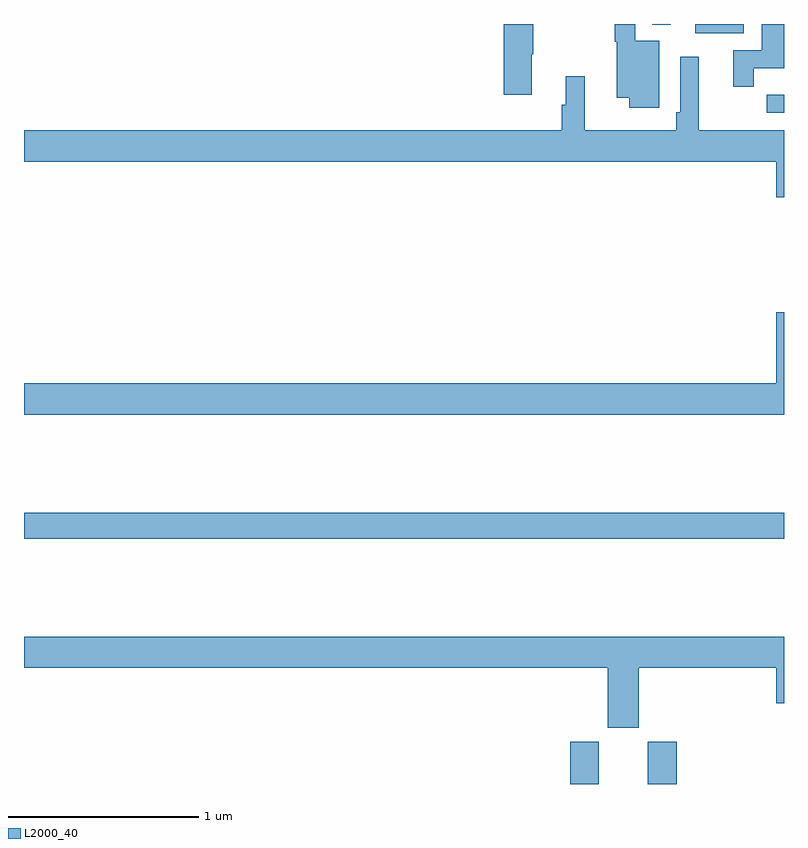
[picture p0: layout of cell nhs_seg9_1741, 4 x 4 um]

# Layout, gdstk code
import gdstk
lib = gdstk.Library(unit=1e-6, precision=1e-09)
def R(c, l, rs):  # rectangles x0, y0, x1, y1
    for r in rs: c.add(gdstk.rectangle(r[:2], r[2:], *l))
def P(c, l, *ps):  # polygons
    for p in ps: c.add(gdstk.Polygon(p, *l))
L2000_40 = (2000, 40)

nhs_seg9_1741 = lib.new_cell('nhs_seg9_1741')
R(nhs_seg9_1741, L2000_40, [(211.874,1170.5,212.026,1170.723), (212.282,1170.5,212.435,1170.723), (209,1171.792,213,1171.928), (212.91,1174.032,213,1174.128), (212.534,1174.451,212.788,1174.5), (212.307,1174.496,212.404,1174.5)])
P(nhs_seg9_1741, L2000_40, [(211.672,1174.34),(211.68,1174.34),(211.68,1174.5),(211.526,1174.5),(211.526,1174.128),(211.672,1174.128)],
  [(212.344,1174.411),(212.217,1174.411),(212.217,1174.5),(212.109,1174.5),(212.109,1174.407),(212.12,1174.407),(212.12,1174.112),(212.186,1174.112),(212.186,1174.059),(212.344,1174.059)],
  [(212.84,1174.266),(213,1174.266),(213,1174.5),(212.882,1174.5),(212.882,1174.362),(212.732,1174.362),(212.732,1174.17),(212.84,1174.17)],
  [(213,1173.94),(212.552,1173.94),(212.552,1174.327),(212.454,1174.327),(212.454,1174.036),(212.434,1174.036),(212.434,1173.94),(211.95,1173.94),(211.95,1174.225),(211.85,1174.225),(211.85,1174.074),(211.831,1174.074),(211.831,1173.94),(209,1173.94),(209,1173.776),(212.96,1173.776),(212.96,1173.588),(213,1173.588)],
  [(213,1172.983),(212.96,1172.983),(212.96,1172.608),(209,1172.608),(209,1172.444),(213,1172.444)],
  [(212.236,1171.112),(212.96,1171.112),(212.96,1170.924),(213,1170.924),(213,1171.276),(209,1171.276),(209,1171.112),(212.072,1171.112),(212.072,1170.795),(212.236,1170.795)])

lib.write_gds('nhs_seg9_1741.gds')
